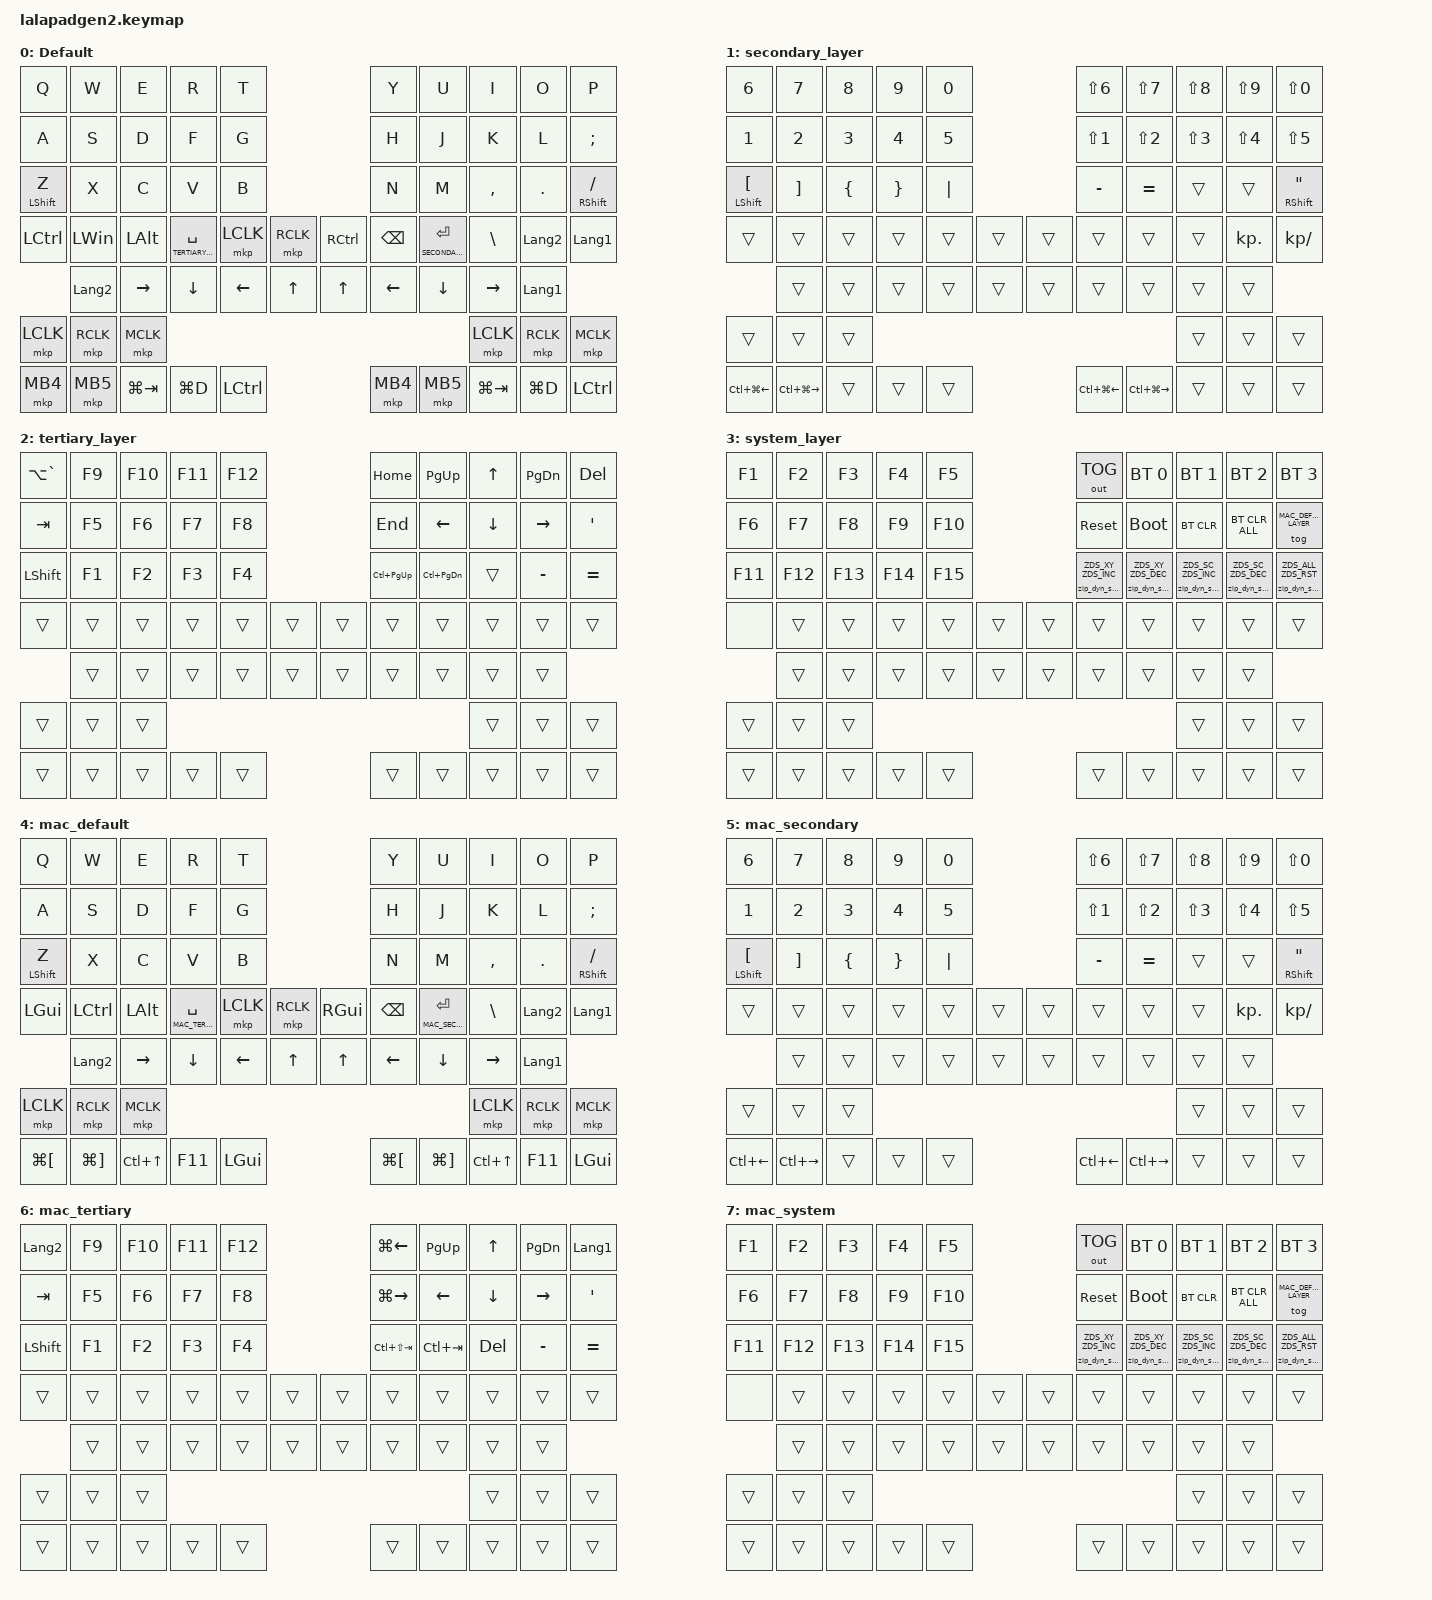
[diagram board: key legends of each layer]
#include <input/processors.dtsi>
#include <dt-bindings/zmk/zip_dynamic_scale.h>
#include <behaviors.dtsi>
#include <dt-bindings/zmk/bt.h>
#include <dt-bindings/zmk/keys.h>
#include <dt-bindings/zmk/outputs.h>
#include <dt-bindings/zmk/pointing.h>

#define DEFAULT_LAYER   0
#define SECONDARY_LAYER 1
#define TERTIARY_LAYER  2
#define SYSTEM_LAYER    3

// Mac / iPad layers. MAC_DEFAULT is turned on automatically while BT_SEL 1 (Mac)
// or BT_SEL 2 (iPad) is selected (src/os_layer.c, LALAPAD_OS_LAYER_* in Kconfig).
// If you renumber, also update lowspeedmode layers in lalapadgen2.dtsi and
// CONFIG_LALAPAD_OS_LAYER_MAC_LAYER.
#define MAC_DEFAULT_LAYER   4
#define MAC_SECONDARY_LAYER 5
#define MAC_TERTIARY_LAYER  6
#define MAC_SYSTEM_LAYER    7

&mt { quick-tap-ms = <200>; };

&lt { quick-tap-ms = <200>; };

/ {
    behaviors {
        zip_dyn_scale: zip_dyn_scale {
            compatible = "zmk,behavior-zip-dynamic-scale";
            #binding-cells = <2>;
        };

        zip_dyn_scale_set: zip_dyn_scale_set {
            compatible = "zmk,behavior-zip-dynamic-scale-set";
            #binding-cells = <2>;
        };

        mt2: mod_tap2 {
            compatible = "zmk,behavior-hold-tap";
            #binding-cells = <2>;
            flavor = "tap-preferred";
            tapping-term-ms = <200>;
            quick-tap-ms = <200>;
            require-prior-idle-ms = <125>;
            bindings = <&kp>, <&kp>;
        };

        tap_dance_layer_1and2: tap_dance_layer_1and2 {
            compatible = "zmk,behavior-tap-dance";
            label = "td_mo12";
            #binding-cells = <0>;
            bindings = <&mo 1>, <&mo 2>;
        };
    };

    combos {
        compatible = "zmk,combos";

        CONBO_ESC {
            bindings = <&kp ESCAPE>;
            key-positions = <0 1>;
        };

        COMBO_TAB {
            bindings = <&kp TAB>;
            key-positions = <10 11>;
        };

        BackSpace {
            bindings = <&kp BACKSPACE>;
            key-positions = <8 9>;
        };

        Enter {
            bindings = <&kp ENTER>;
            key-positions = <18 19>;
        };

        Grave {
            bindings = <&kp GRAVE>;
            key-positions = <10 0>;
        };
    };

    keymap {
        compatible = "zmk,keymap";

        DEFAULT_LAYER {
            display-name = "Default";
            bindings = <
&kp Q              &kp W           &kp E         &kp R      &kp T                               &kp Y      &kp U     &kp I          &kp O           &kp P
&kp A              &kp S           &kp D         &kp F      &kp G                               &kp H      &kp J     &kp K          &kp L           &kp SEMICOLON
&mt2 LEFT_SHIFT Z  &kp X           &kp C         &kp V      &kp B                               &kp N      &kp M     &kp COMMA      &kp PERIOD      &mt RIGHT_SHIFT SLASH
&kp LCTRL          &kp LWIN        &kp LEFT_ALT  &lt TERTIARY_LAYER SPACE  &mkp LCLK  &mkp RCLK  &kp RCTRL  &kp BACKSPACE  &lt SECONDARY_LAYER ENTER  &kp BACKSLASH  &kp LANGUAGE_2  &kp LANGUAGE_1
                   &kp LANGUAGE_2  &kp RIGHT     &kp DOWN   &kp LEFT   &kp UP    &kp UP         &kp LEFT   &kp DOWN  &kp RIGHT      &kp LANGUAGE_1
&mkp LCLK          &mkp RCLK       &mkp MCLK                                                                         &mkp LCLK      &mkp RCLK       &mkp MCLK
&mkp MB4           &mkp MB5        &kp LG(TAB)   &kp LG(D)  &kp LCTRL                           &mkp MB4   &mkp MB5  &kp LG(TAB)    &kp LG(D)       &kp LCTRL
            >;
        };

        SECONDARY_LAYER {
            display-name = "secondary_layer";
            bindings = <
&kp NUMBER_6                 &kp NUMBER_7       &kp NUMBER_8    &kp NUMBER_9     &kp NUMBER_0                  &kp LS(NUMBER_6)  &kp LS(NUMBER_7)   &kp LS(NUMBER_8)  &kp LS(NUMBER_9)  &kp LS(NUMBER_0)
&kp NUMBER_1                 &kp NUMBER_2       &kp NUMBER_3    &kp NUMBER_4     &kp NUMBER_5                  &kp LS(NUMBER_1)  &kp LS(NUMBER_2)   &kp LS(NUMBER_3)  &kp LS(NUMBER_4)  &kp LS(NUMBER_5)
&mt LEFT_SHIFT LEFT_BRACKET  &kp RIGHT_BRACKET  &kp LEFT_BRACE  &kp RIGHT_BRACE  &kp PIPE                      &kp MINUS         &kp EQUAL          &trans            &trans            &mt RIGHT_SHIFT DOUBLE_QUOTES
&trans                       &trans             &trans          &trans           &trans        &trans  &trans  &trans            &trans             &trans            &kp KP_DOT        &kp KP_DIVIDE
                             &trans             &trans          &trans           &trans        &trans  &trans  &trans            &trans             &trans            &trans
&trans                       &trans             &trans                                                                                              &trans            &trans            &trans
&kp LC(LG(LEFT))             &kp LC(LG(RIGHT))  &trans          &trans           &trans                        &kp LC(LG(LEFT))  &kp LC(LG(RIGHT))  &trans            &trans            &trans
            >;
        };

        TERTIARY_LAYER {
            display-name = "tertiary_layer";
            bindings = <
&kp LA(GRAVE)   &kp F9  &kp F10  &kp F11  &kp F12                  &kp HOME         &kp PAGE_UP        &kp UP_ARROW    &kp PAGE_DOWN  &kp DELETE
&kp TAB         &kp F5  &kp F6   &kp F7   &kp F8                   &kp END          &kp LEFT           &kp DOWN_ARROW  &kp RIGHT      &kp APOS
&kp LEFT_SHIFT  &kp F1  &kp F2   &kp F3   &kp F4                   &kp LC(PAGE_UP)  &kp LC(PAGE_DOWN)  &trans          &kp MINUS      &kp EQUAL
&trans          &trans  &trans   &trans   &trans   &trans  &trans  &trans           &trans             &trans          &trans         &trans
                &trans  &trans   &trans   &trans   &trans  &trans  &trans           &trans             &trans          &trans
&trans          &trans  &trans                                                                         &trans          &trans         &trans
&trans          &trans  &trans   &trans   &trans                   &trans           &trans             &trans          &trans         &trans
            >;
        };

        SYSTEM_LAYER {
            display-name = "system_layer";
            bindings = <
&kp F1   &kp F2   &kp F3   &kp F4   &kp F5                   &out OUT_TOG                   &bt BT_SEL 0                   &bt BT_SEL 1                   &bt BT_SEL 2                   &bt BT_SEL 3
&kp F6   &kp F7   &kp F8   &kp F9   &kp F10                  &sys_reset                     &bootloader                    &bt BT_CLR                     &bt BT_CLR_ALL                 &tog MAC_DEFAULT_LAYER
&kp F11  &kp F12  &kp F13  &kp F14  &kp F15                  &zip_dyn_scale ZDS_XY ZDS_INC  &zip_dyn_scale ZDS_XY ZDS_DEC  &zip_dyn_scale ZDS_SC ZDS_INC  &zip_dyn_scale ZDS_SC ZDS_DEC  &zip_dyn_scale ZDS_ALL ZDS_RST
&none    &trans   &trans   &trans   &trans   &trans  &trans  &trans                         &trans                         &trans                         &trans                         &trans
         &trans   &trans   &trans   &trans   &trans  &trans  &trans                         &trans                         &trans                         &trans
&trans   &trans   &trans                                                                                                   &trans                         &trans                         &trans
&trans   &trans   &trans   &trans   &trans                   &trans                         &trans                         &trans                         &trans                         &trans
            >;
        };

        MAC_DEFAULT_LAYER {
            display-name = "mac_default";
            bindings = <
&kp Q                 &kp W                  &kp E             &kp R          &kp T                               &kp Y                 &kp U                  &kp I             &kp O           &kp P
&kp A                 &kp S                  &kp D             &kp F          &kp G                               &kp H                 &kp J                  &kp K             &kp L           &kp SEMICOLON
&mt2 LEFT_SHIFT Z     &kp X                  &kp C             &kp V          &kp B                               &kp N                 &kp M                  &kp COMMA         &kp PERIOD      &mt RIGHT_SHIFT SLASH
&kp LGUI              &kp LCTRL              &kp LEFT_ALT      &lt MAC_TERTIARY_LAYER SPACE  &mkp LCLK  &mkp RCLK  &kp RGUI  &kp BACKSPACE  &lt MAC_SECONDARY_LAYER ENTER  &kp BACKSLASH     &kp LANGUAGE_2  &kp LANGUAGE_1
                      &kp LANGUAGE_2         &kp RIGHT         &kp DOWN       &kp LEFT   &kp UP    &kp UP         &kp LEFT   &kp DOWN               &kp RIGHT         &kp LANGUAGE_1
&mkp LCLK             &mkp RCLK              &mkp MCLK                                                                                                            &mkp LCLK         &mkp RCLK       &mkp MCLK
&kp LG(LEFT_BRACKET)  &kp LG(RIGHT_BRACKET)  &kp LC(UP_ARROW)  &kp F11        &kp LGUI                            &kp LG(LEFT_BRACKET)  &kp LG(RIGHT_BRACKET)  &kp LC(UP_ARROW)  &kp F11         &kp LGUI
            >;
        };

        MAC_SECONDARY_LAYER {
            display-name = "mac_secondary";
            bindings = <
&kp NUMBER_6                 &kp NUMBER_7       &kp NUMBER_8    &kp NUMBER_9     &kp NUMBER_0                  &kp LS(NUMBER_6)  &kp LS(NUMBER_7)   &kp LS(NUMBER_8)  &kp LS(NUMBER_9)  &kp LS(NUMBER_0)
&kp NUMBER_1                 &kp NUMBER_2       &kp NUMBER_3    &kp NUMBER_4     &kp NUMBER_5                  &kp LS(NUMBER_1)  &kp LS(NUMBER_2)   &kp LS(NUMBER_3)  &kp LS(NUMBER_4)  &kp LS(NUMBER_5)
&mt LEFT_SHIFT LEFT_BRACKET  &kp RIGHT_BRACKET  &kp LEFT_BRACE  &kp RIGHT_BRACE  &kp PIPE                      &kp MINUS         &kp EQUAL          &trans            &trans            &mt RIGHT_SHIFT DOUBLE_QUOTES
&trans                       &trans             &trans          &trans           &trans        &trans  &trans  &trans            &trans             &trans            &kp KP_DOT        &kp KP_DIVIDE
                             &trans             &trans          &trans           &trans        &trans  &trans  &trans            &trans             &trans            &trans
&trans                       &trans             &trans                                                                                              &trans            &trans            &trans
&kp LC(LEFT)                 &kp LC(RIGHT)      &trans          &trans           &trans                        &kp LC(LEFT)      &kp LC(RIGHT)      &trans            &trans            &trans
            >;
        };

        MAC_TERTIARY_LAYER {
            display-name = "mac_tertiary";
            bindings = <
&kp LANGUAGE_2  &kp F9  &kp F10  &kp F11  &kp F12                  &kp LG(LEFT)       &kp PAGE_UP    &kp UP_ARROW    &kp PAGE_DOWN  &kp LANGUAGE_1
&kp TAB         &kp F5  &kp F6   &kp F7   &kp F8                   &kp LG(RIGHT)      &kp LEFT       &kp DOWN_ARROW  &kp RIGHT      &kp APOS
&kp LEFT_SHIFT  &kp F1  &kp F2   &kp F3   &kp F4                   &kp LC(LS(TAB))    &kp LC(TAB)    &kp DELETE      &kp MINUS      &kp EQUAL
&trans          &trans  &trans   &trans   &trans   &trans  &trans  &trans             &trans         &trans          &trans         &trans
                &trans  &trans   &trans   &trans   &trans  &trans  &trans             &trans         &trans          &trans
&trans          &trans  &trans                                                                       &trans          &trans         &trans
&trans          &trans  &trans   &trans   &trans                   &trans             &trans         &trans          &trans         &trans
            >;
        };

        MAC_SYSTEM_LAYER {
            display-name = "mac_system";
            bindings = <
&kp F1   &kp F2   &kp F3   &kp F4   &kp F5                   &out OUT_TOG                   &bt BT_SEL 0                   &bt BT_SEL 1                   &bt BT_SEL 2                   &bt BT_SEL 3
&kp F6   &kp F7   &kp F8   &kp F9   &kp F10                  &sys_reset                     &bootloader                    &bt BT_CLR                     &bt BT_CLR_ALL                 &tog MAC_DEFAULT_LAYER
&kp F11  &kp F12  &kp F13  &kp F14  &kp F15                  &zip_dyn_scale ZDS_XY ZDS_INC  &zip_dyn_scale ZDS_XY ZDS_DEC  &zip_dyn_scale ZDS_SC ZDS_INC  &zip_dyn_scale ZDS_SC ZDS_DEC  &zip_dyn_scale ZDS_ALL ZDS_RST
&none    &trans   &trans   &trans   &trans   &trans  &trans  &trans                         &trans                         &trans                         &trans                         &trans
         &trans   &trans   &trans   &trans   &trans  &trans  &trans                         &trans                         &trans                         &trans
&trans   &trans   &trans                                                                                                   &trans                         &trans                         &trans
&trans   &trans   &trans   &trans   &trans                   &trans                         &trans                         &trans                         &trans                         &trans
            >;
        };
    };

    conditional_layers {
        compatible = "zmk,conditional-layers";

        Cond_Syslayer {
            if-layers = <SECONDARY_LAYER TERTIARY_LAYER>;
            then-layer = <SYSTEM_LAYER>;
        };

        Cond_Syslayer_Mac {
            if-layers = <MAC_SECONDARY_LAYER MAC_TERTIARY_LAYER>;
            then-layer = <MAC_SYSTEM_LAYER>;
        };
    };
};
